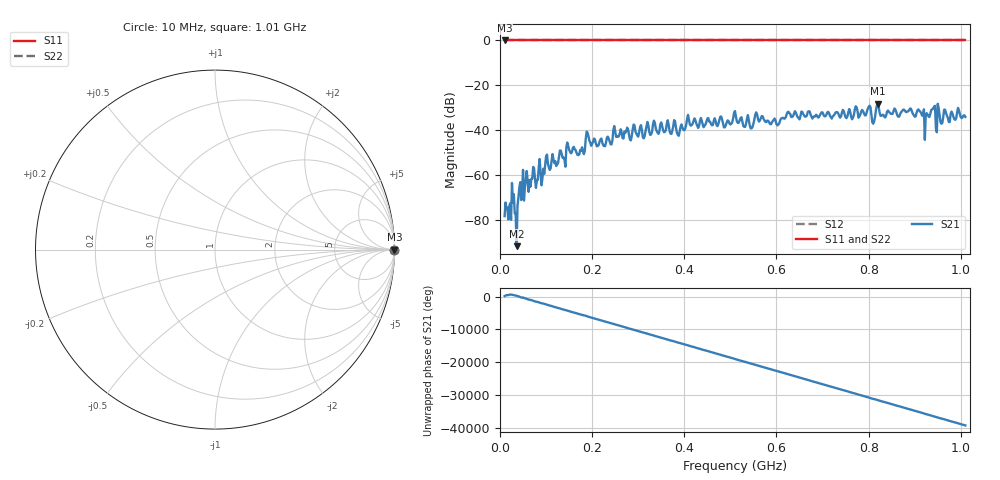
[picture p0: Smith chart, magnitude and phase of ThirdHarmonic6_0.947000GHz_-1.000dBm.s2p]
! 8/16/2025 6:46:54 AM
! C:\ANRITSUVNA\TEMP\TEMP.S2P
! CHANNEL.1
! TR.MEASUREMENT
! RAW.DATA
! RF.CORRECTION.OFF
! AVERAGING.OFF
! IF.BANDWIDTH: 5KHZ
! SWEEPTYPE:  FREQ.SWEEP(Linear)
! Reference Plane Port Info
! PORT:  PORT1  PORT2
! DISTANCE:  0  m  0  m
! TIME:  0  s  0  s
! PHASE.OFFSET:  0  deg.  0  deg.
! LOSS:  0  dB  0  dB
! REF.LOSS:  0  dB  0  dB
! REF.FREQ:  0  Hz  0  Hz
! Power Info
! POWER:  -20  dBm  -20  dBm
! EFF.POWER:  -20  dBm  -20  dBm
! SOURCE.ATTEN:  0  dB  0  dB
! TEST.ATTEN:  0  dB  0  dB
# GHZ S RI R 50.0
! FREQ.GHZ  S11RE  S11IM  S21RE  S21IM  S12RE  S12IM  S22RE  S22IM
!; PortSelection: Port_12
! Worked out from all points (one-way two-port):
!   501 points, 10 MHz to 1.01 GHz, reference 50 ohm
!   highest |S21| = -28.12 dB at 820 MHz (marker M1); lowest = -91.6 dB at 36 MHz (marker M2)
!   lowest |S11| = 0.0 dB at 10 MHz (marker M3)
!   |S11| at or under -10 dB: nowhere
!   |S22| runs from 0.0 to 0.0 dB; largest |S21 - S12| = 1
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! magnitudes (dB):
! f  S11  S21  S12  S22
! 10 MHz  0.0  -78.3  0.0  0.0
! 26 MHz  0.0  -63.5  0.0  0.0
! 36 MHz  0.0  -91.6  0.0  0.0
! 46 MHz  0.0  -71.1  0.0  0.0
! 92 MHz  0.0  -61.6  0.0  0.0
! 102 MHz  0.0  -50.8  0.0  0.0
! 138 MHz  0.0  -52.1  0.0  0.0
! 148 MHz  0.0  -46.8  0.0  0.0
! 178 MHz  0.0  -47.6  0.0  0.0
! 190 MHz  0.0  -41.0  0.0  0.0
! 226 MHz  0.0  -47.0  0.0  0.0
! 250 MHz  0.0  -40.5  0.0  0.0
! 344 MHz  0.0  -41.6  0.0  0.0
! 510 MHz  0.0  -31.4  0.0  0.0
! 546 MHz  0.0  -39.1  0.0  0.0
! 556 MHz  0.0  -32.0  0.0  0.0
! 678 MHz  0.0  -34.8  0.0  0.0
! 800 MHz  0.0  -29.6  0.0  0.0
! 810 MHz  0.0  -37.1  0.0  0.0
! 820 MHz  0.0  -28.1  0.0  0.0
! 844 MHz  0.0  -31.7  0.0  0.0
! 1.01 GHz  0.0  -34.0  0.0  0.0
